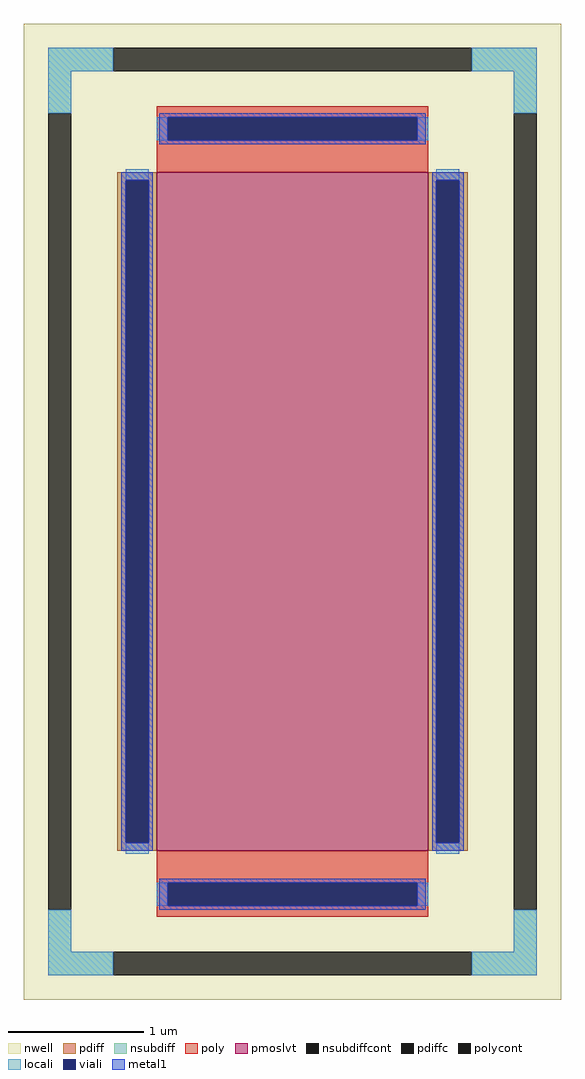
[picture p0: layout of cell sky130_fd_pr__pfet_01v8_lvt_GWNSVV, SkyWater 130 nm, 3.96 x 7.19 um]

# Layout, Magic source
magic
tech sky130A
magscale 1 2
<< nwell >>
rect -396 -719 396 719
<< pmoslvt >>
rect -200 -500 200 500
<< pdiff >>
rect -258 488 -200 500
rect -258 -488 -246 488
rect -212 -488 -200 488
rect -258 -500 -200 -488
rect 200 488 258 500
rect 200 -488 212 488
rect 246 -488 258 488
rect 200 -500 258 -488
<< pdiffc >>
rect -246 -488 -212 488
rect 212 -488 246 488
<< nsubdiff >>
rect -360 649 -264 683
rect 264 649 360 683
rect -360 587 -326 649
rect 326 587 360 649
rect -360 -649 -326 -587
rect 326 -649 360 -587
rect -360 -683 -264 -649
rect 264 -683 360 -649
<< nsubdiffcont >>
rect -264 649 264 683
rect -360 -587 -326 587
rect 326 -587 360 587
rect -264 -683 264 -649
<< poly >>
rect -200 581 200 597
rect -200 547 -184 581
rect 184 547 200 581
rect -200 500 200 547
rect -200 -547 200 -500
rect -200 -581 -184 -547
rect 184 -581 200 -547
rect -200 -597 200 -581
<< polycont >>
rect -184 547 184 581
rect -184 -581 184 -547
<< locali >>
rect -360 649 -264 683
rect 264 649 360 683
rect -360 587 -326 649
rect 326 587 360 649
rect -200 547 -184 581
rect 184 547 200 581
rect -246 488 -212 504
rect -246 -504 -212 -488
rect 212 488 246 504
rect 212 -504 246 -488
rect -200 -581 -184 -547
rect 184 -581 200 -547
rect -360 -649 -326 -587
rect 326 -649 360 -587
rect -360 -683 -264 -649
rect 264 -683 360 -649
<< viali >>
rect -184 547 184 581
rect -246 -488 -212 488
rect 212 -488 246 488
rect -184 -581 184 -547
<< metal1 >>
rect -196 581 196 587
rect -196 547 -184 581
rect 184 547 196 581
rect -196 541 196 547
rect -252 488 -206 500
rect -252 -488 -246 488
rect -212 -488 -206 488
rect -252 -500 -206 -488
rect 206 488 252 500
rect 206 -488 212 488
rect 246 -488 252 488
rect 206 -500 252 -488
rect -196 -547 196 -541
rect -196 -581 -184 -547
rect 184 -581 196 -547
rect -196 -587 196 -581
<< properties >>
string FIXED_BBOX -343 -666 343 666
string gencell sky130_fd_pr__pfet_01v8_lvt
string library sky130
string parameters w 5.0 l 2.0 m 1 nf 1 diffcov 100 polycov 100 guard 1 glc 1 grc 1 gtc 1 gbc 1 tbcov 100 rlcov 100 topc 1 botc 1 poverlap 0 doverlap 1 lmin 0.35 wmin 0.42 compatible {sky130_fd_pr__pfet_01v8  sky130_fd_pr__pfet_01v8_lvt sky130_fd_pr__pfet_01v8_hvt  sky130_fd_pr__pfet_g5v0d10v5} full_metal 1 viasrc 100 viadrn 100 viagate 100 viagb 0 viagr 0 viagl 0 viagt 0
<< end >>
